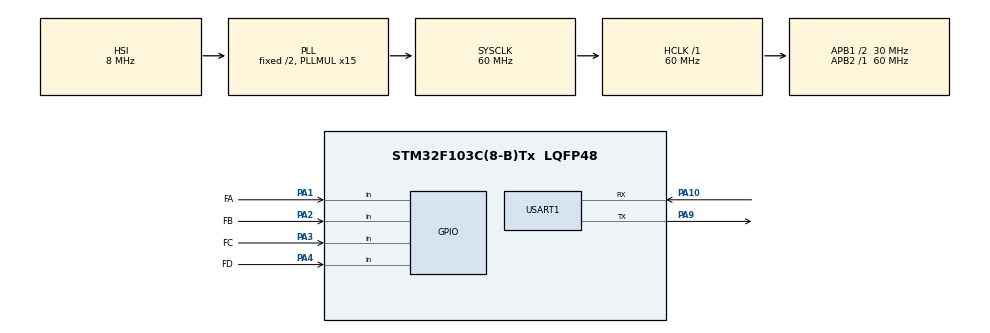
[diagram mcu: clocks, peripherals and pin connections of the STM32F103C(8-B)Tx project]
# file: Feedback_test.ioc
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Mcu.Family=STM32F1
Mcu.Name=STM32F103C(8-B)Tx
Mcu.Package=LQFP48
NVIC.PriorityGroup=NVIC_PRIORITYGROUP_4
PA1.GPIO_Label=FA
PA1.GPIO_PuPd=GPIO_PULLUP
PA1.Signal=GPIO_Input
PA10.Mode=Asynchronous
PA10.Signal=USART1_RX
PA13.Mode=Serial_Wire
PA13.Signal=SYS_JTMS-SWDIO
PA14.Mode=Serial_Wire
PA14.Signal=SYS_JTCK-SWCLK
PA2.GPIO_Label=FB
PA2.GPIO_PuPd=GPIO_PULLUP
PA2.Signal=GPIO_Input
PA3.GPIO_Label=FC
PA3.GPIO_PuPd=GPIO_PULLUP
PA3.Signal=GPIO_Input
PA4.GPIO_Label=FD
PA4.GPIO_PuPd=GPIO_PULLUP
PA4.Signal=GPIO_Input
PA9.Mode=Asynchronous
PA9.Signal=USART1_TX
ProjectManager.HeapSize=0x200
ProjectManager.StackSize=0x400
ProjectManager.TargetToolchain=STM32CubeIDE
RCC.AHBFreq_Value=60000000
RCC.APB1CLKDivider=RCC_HCLK_DIV2
RCC.APB1Freq_Value=30000000
RCC.APB1TimFreq_Value=60000000
RCC.APB2Freq_Value=60000000
RCC.APB2TimFreq_Value=60000000
RCC.HCLKFreq_Value=60000000
RCC.PLLMUL=RCC_PLL_MUL15
RCC.SYSCLKFreq_VALUE=60000000
RCC.SYSCLKSource=RCC_SYSCLKSOURCE_PLLCLK
RCC.USBFreq_Value=60000000
USART1.VirtualMode=VM_ASYNC
board=custom

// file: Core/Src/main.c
/* USER CODE BEGIN Header */
/**
  ******************************************************************************
  * @file           : main.c
  * @brief          : Main program body
  ******************************************************************************
  * @attention
  *
  * Copyright (c) 2023 STMicroelectronics.
  * All rights reserved.
  *
  * This software is licensed under terms that can be found in the LICENSE file
  * in the root directory of this software component.
  * If no LICENSE file comes with this software, it is provided AS-IS.
  *
  ******************************************************************************
  */
/* USER CODE END Header */
#include "main.h"
#include "usart.h"
#include "gpio.h"

/* USER CODE BEGIN Includes */
#include <stdio.h>
/* USER CODE END Includes */

/* USER CODE BEGIN PV */

int Feedback_Result[4] = {2,2,2,2};
GPIO_TypeDef* Feedback_Port_List[4] = {FA_GPIO_Port, FB_GPIO_Port, FC_GPIO_Port, FD_GPIO_Port};
uint16_t Feedback_Pin_List[4] = {FA_Pin, FB_Pin, FC_Pin, FD_Pin};

/* USER CODE END PV */

void SystemClock_Config(void);

/* USER CODE BEGIN 0 */

//	Funkcja umozliwiajaca wyrzucanie rezulatow badania jako funkcje printf konsoli
int __io_putchar(int ch)
{
    if (ch == '\n') {
        uint8_t ch2 = '\r';
        HAL_UART_Transmit(&huart1, &ch2, 1, HAL_MAX_DELAY);
    }

    HAL_UART_Transmit(&huart1, (uint8_t*)&ch, 1, HAL_MAX_DELAY);
    return 1;
}

/* USER CODE END 0 */

int main(void)
{

  /* MCU Configuration--------------------------------------------------------*/

  /* Reset of all peripherals, Initializes the Flash interface and the Systick. */
  HAL_Init();

  /* Configure the system clock */
  SystemClock_Config();

  /* Initialize all configured peripherals */
  MX_GPIO_Init();
  MX_USART1_UART_Init();

  /* Infinite loop */
  /* USER CODE BEGIN WHILE */
  while (1)
  {
	  for(int i=0; i<4; i++){
		  GPIO_PinState Feedback_Status = HAL_GPIO_ReadPin(Feedback_Port_List[i], Feedback_Pin_List[i]);
		  if(Feedback_Status == GPIO_PIN_SET){
			  Feedback_Result[i] = 0;
		  }
		  else if(Feedback_Status == GPIO_PIN_SET){
			  Feedback_Result[i] = 1;
		  }
	  }
	  printf("Feedback Status: FA = %d FB = %d FC = %d FC = %d\n", Feedback_Result[0], Feedback_Result[1], Feedback_Result[2], Feedback_Result[3]);

    /* USER CODE END WHILE */

  }
}

void SystemClock_Config(void)
{
  RCC_OscInitTypeDef RCC_OscInitStruct = {0};
  RCC_ClkInitTypeDef RCC_ClkInitStruct = {0};

  /** Initializes the RCC Oscillators according to the specified parameters
  * in the RCC_OscInitTypeDef structure.
  */
  RCC_OscInitStruct.OscillatorType = RCC_OSCILLATORTYPE_HSI;
  RCC_OscInitStruct.HSIState = RCC_HSI_ON;
  RCC_OscInitStruct.HSICalibrationValue = RCC_HSICALIBRATION_DEFAULT;
  RCC_OscInitStruct.PLL.PLLState = RCC_PLL_ON;
  RCC_OscInitStruct.PLL.PLLSource = RCC_PLLSOURCE_HSI_DIV2;
  RCC_OscInitStruct.PLL.PLLMUL = RCC_PLL_MUL15;
  if (HAL_RCC_OscConfig(&RCC_OscInitStruct) != HAL_OK)
  {
    Error_Handler();
  }

  /** Initializes the CPU, AHB and APB buses clocks
  */
  RCC_ClkInitStruct.ClockType = RCC_CLOCKTYPE_HCLK|RCC_CLOCKTYPE_SYSCLK
                              |RCC_CLOCKTYPE_PCLK1|RCC_CLOCKTYPE_PCLK2;
  RCC_ClkInitStruct.SYSCLKSource = RCC_SYSCLKSOURCE_PLLCLK;
  RCC_ClkInitStruct.AHBCLKDivider = RCC_SYSCLK_DIV1;
  RCC_ClkInitStruct.APB1CLKDivider = RCC_HCLK_DIV2;
  RCC_ClkInitStruct.APB2CLKDivider = RCC_HCLK_DIV1;

  if (HAL_RCC_ClockConfig(&RCC_ClkInitStruct, FLASH_LATENCY_2) != HAL_OK)
  {
    Error_Handler();
  }
}

void Error_Handler(void)
{
  __disable_irq();
  while (1)
  {
  }
}
